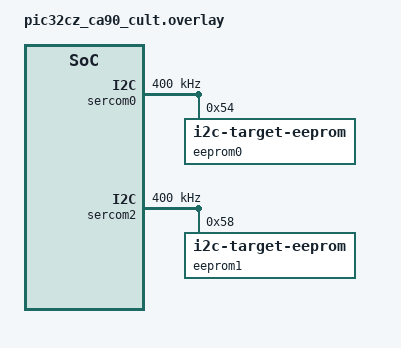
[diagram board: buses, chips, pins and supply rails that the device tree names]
/*
 * Copyright (c) 2026 Microchip Technology Inc.
 *
 * SPDX-License-Identifier: Apache-2.0
 */

/* Connect PC0 to PC8 (SDA), and PC1 to PC9 (SCL) */

&pinctrl {
	sercom0_i2c_default: sercom0_i2c_default {
		group1 {
			pinmux = <PC0D_SERCOM0_PAD0>,
				 <PC1D_SERCOM0_PAD1>;
		};
	};

	sercom2_i2c_default: sercom2_i2c_default {
		group1 {
			pinmux = <PC8D_SERCOM2_PAD0>,
				 <PC9D_SERCOM2_PAD1>;
		};
	};
};

&gclkperiph {
	sercom0 {
		subsystem = <CLOCK_MCHP_GCLKPERIPH_ID_SERCOM0_CORE>;
		gclkperiph-src = "gclk1";
		gclkperiph-en = <1>;
	};

	sercom2 {
		subsystem = <CLOCK_MCHP_GCLKPERIPH_ID_SERCOM2_CORE>;
		gclkperiph-src = "gclk1";
		gclkperiph-en = <1>;
	};
};

&sercom0 {
	compatible = "microchip,sercom-g1-i2c";
	#address-cells = <1>;
	#size-cells = <0>;
	clock-frequency = <I2C_BITRATE_FAST>;
	pinctrl-0 = <&sercom0_i2c_default>;
	pinctrl-names = "default";
	status = "okay";

	eeprom0: eeprom@54 {
		compatible = "zephyr,i2c-target-eeprom";
		reg = <0x54>;
		size = <256>;
	};
};

&sercom2 {
	compatible = "microchip,sercom-g1-i2c";

	/* sercom2 is configured for SPI, drop SPI-related properties to allow I2C use */
	/delete-property/ dipo;
	/delete-property/ dopo;
	/delete-property/ cs-gpios;
	/delete-property/ dmas;
	/delete-property/ dma-names;
	#address-cells = <1>;
	#size-cells = <0>;
	clock-frequency = <I2C_BITRATE_FAST>;
	pinctrl-0 = <&sercom2_i2c_default>;
	pinctrl-names = "default";
	status = "okay";

	eeprom1: eeprom@58 {
		compatible = "zephyr,i2c-target-eeprom";
		reg = <0x58>;
		size = <256>;
	};
};
